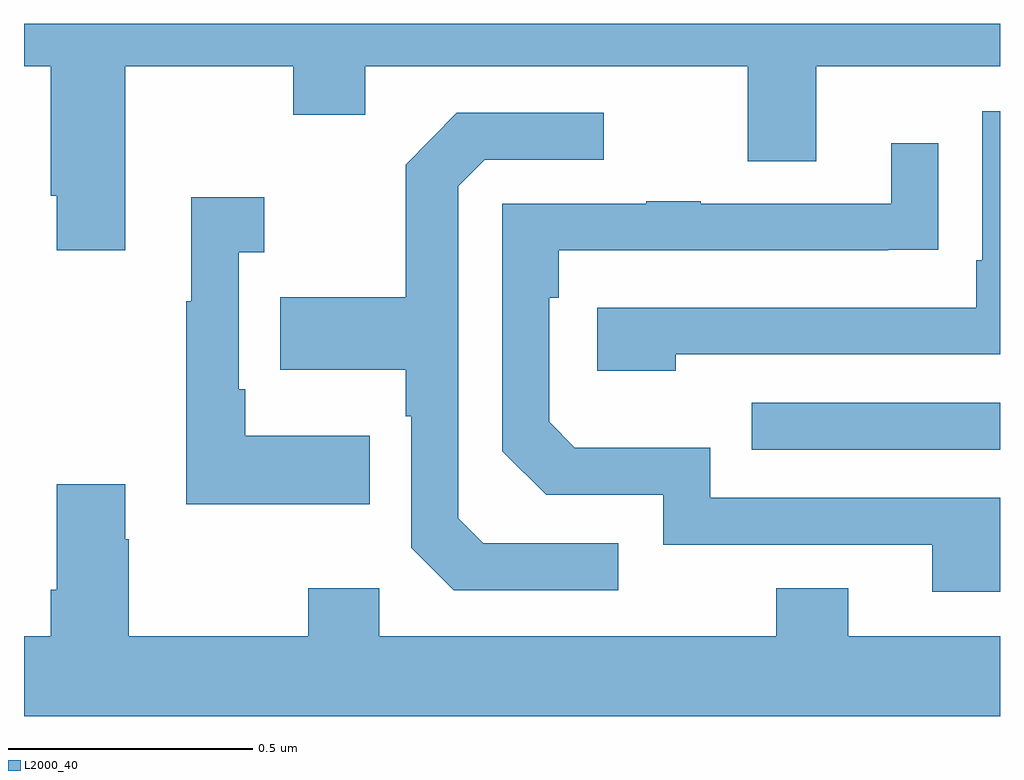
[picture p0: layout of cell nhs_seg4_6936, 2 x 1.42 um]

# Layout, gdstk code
import gdstk
lib = gdstk.Library(unit=1e-6, precision=1e-09)
def R(c, l, rs):  # rectangles x0, y0, x1, y1
    for r in rs: c.add(gdstk.rectangle(r[:2], r[2:], *l))
def P(c, l, *ps):  # polygons
    for p in ps: c.add(gdstk.Polygon(p, *l))
L2000_40 = (2000, 40)

nhs_seg4_6936 = lib.new_cell('nhs_seg4_6936')
R(nhs_seg4_6936, L2000_40, [(197.491,804.027,198,804.123)])
P(nhs_seg4_6936, L2000_40, [(196.207,804.812),(196.552,804.812),(196.552,804.713),(196.699,804.713),(196.699,804.812),(197.483,804.812),(197.483,804.618),(197.623,804.618),(197.623,804.812),(198,804.812),(198,804.9),(196,804.9),(196,804.812),(196.055,804.812),(196.055,804.547),(196.067,804.547),(196.067,804.435),(196.207,804.435)],
  [(197.336,804.222),(198,804.222),(198,804.72),(197.964,804.72),(197.964,804.415),(197.951,804.415),(197.951,804.318),(197.175,804.318),(197.175,804.188),(197.336,804.188)],
  [(197.218,803.835),(196.941,803.835),(196.89,803.886),(196.89,804.567),(196.944,804.621),(197.188,804.621),(197.188,804.717),(196.887,804.717),(196.782,804.611),(196.782,804.339),(196.525,804.339),(196.525,804.191),(196.782,804.191),(196.782,804.095),(196.794,804.095),(196.794,803.826),(196.881,803.739),(197.218,803.739)],
  [(198,803.928),(197.406,803.928),(197.406,804.031),(197.129,804.031),(197.076,804.084),(197.076,804.338),(197.096,804.338),(197.096,804.435),(197.771,804.435),(197.771,804.436),(197.873,804.436),(197.873,804.655),(197.777,804.655),(197.777,804.531),(197.387,804.531),(197.387,804.536),(197.275,804.536),(197.275,804.531),(196.98,804.531),(196.98,804.024),(197.07,803.934),(197.31,803.934),(197.31,803.832),(197.861,803.832),(197.861,803.736),(198,803.736)],
  [(196.709,804.055),(196.453,804.055),(196.453,804.151),(196.44,804.151),(196.44,804.431),(196.492,804.431),(196.492,804.544),(196.343,804.544),(196.343,804.331),(196.332,804.331),(196.332,803.915),(196.709,803.915)],
  [(198,803.644),(197.689,803.644),(197.689,803.743),(197.542,803.743),(197.542,803.644),(196.728,803.644),(196.728,803.743),(196.582,803.743),(196.582,803.644),(196.215,803.644),(196.215,803.843),(196.207,803.843),(196.207,803.956),(196.067,803.956),(196.067,803.74),(196.055,803.74),(196.055,803.644),(196,803.644),(196,803.48),(198,803.48)])

lib.write_gds('nhs_seg4_6936.gds')
